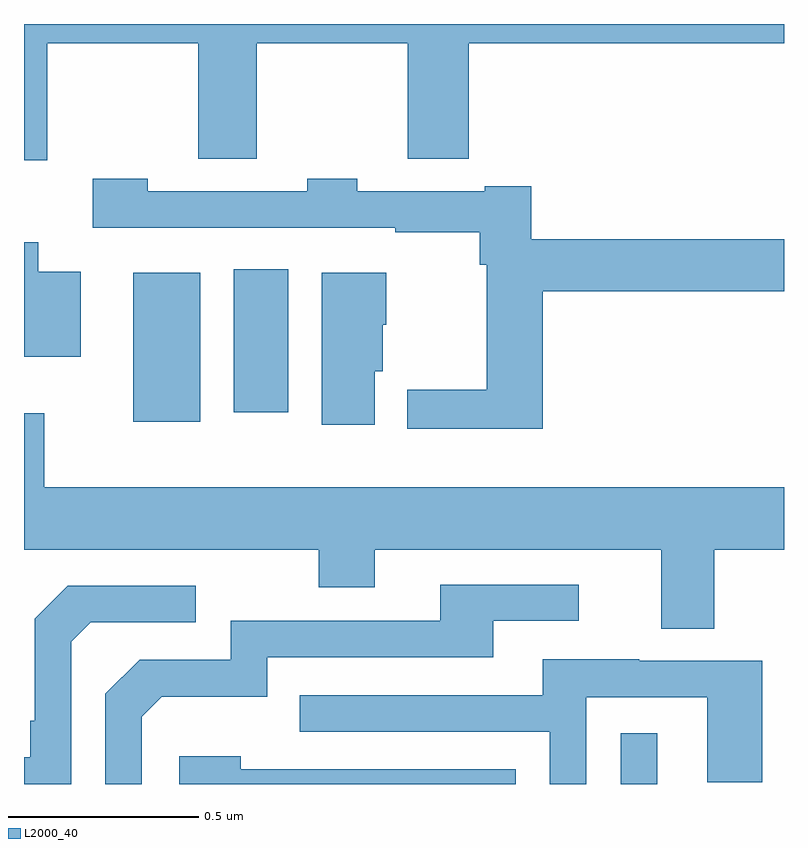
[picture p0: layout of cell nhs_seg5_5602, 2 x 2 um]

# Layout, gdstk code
import gdstk
lib = gdstk.Library(unit=1e-6, precision=1e-09)
def R(c, l, rs):  # rectangles x0, y0, x1, y1
    for r in rs: c.add(gdstk.rectangle(r[:2], r[2:], *l))
def P(c, l, *ps):  # polygons
    for p in ps: c.add(gdstk.Polygon(p, *l))
L2000_40 = (2000, 40)

nhs_seg5_5602 = lib.new_cell('nhs_seg5_5602')
R(nhs_seg5_5602, L2000_40, [(186.57,866.799,186.667,866.932), (185.288,867.752,185.464,868.144), (185.552,867.777,185.695,868.153)])
P(nhs_seg5_5602, L2000_40, [(185.061,868.748),(185.458,868.748),(185.458,868.444),(185.612,868.444),(185.612,868.748),(186.01,868.748),(186.01,868.444),(186.17,868.444),(186.17,868.748),(187,868.748),(187,868.799),(185,868.799),(185,868.44),(185.061,868.44)],
  [(186.365,868.096),(187,868.096),(187,868.232),(186.335,868.232),(186.335,868.372),(186.212,868.372),(186.212,868.359),(185.877,868.359),(185.877,868.392),(185.745,868.392),(185.745,868.359),(185.325,868.359),(185.325,868.392),(185.181,868.392),(185.181,868.263),(185.977,868.263),(185.977,868.251),(186.199,868.251),(186.199,868.166),(186.218,868.166),(186.218,867.836),(186.009,867.836),(186.009,867.734),(186.365,867.734)],
  [(185.149,868.147),(185.038,868.147),(185.038,868.225),(185,868.225),(185,867.923),(185.149,867.923)],
  [(185.923,867.885),(185.944,867.885),(185.944,868.008),(185.953,868.008),(185.953,868.144),(185.783,868.144),(185.783,867.744),(185.923,867.744)],
  [(186.817,867.416),(187,867.416),(187,867.58),(185.053,867.58),(185.053,867.775),(185,867.775),(185,867.416),(185.776,867.416),(185.776,867.317),(185.923,867.317),(185.923,867.416),(186.677,867.416),(186.677,867.208),(186.817,867.208)],
  [(185.31,866.976),(185.363,867.029),(185.64,867.029),(185.64,867.132),(186.235,867.132),(186.235,867.228),(186.46,867.228),(186.46,867.324),(186.095,867.324),(186.095,867.228),(185.544,867.228),(185.544,867.126),(185.304,867.126),(185.214,867.036),(185.214,866.799),(185.31,866.799)],
  [(185.124,867.174),(185.175,867.225),(185.452,867.225),(185.452,867.321),(185.115,867.321),(185.028,867.234),(185.028,866.965),(185.016,866.965),(185.016,866.869),(185,866.869),(185,866.799),(185.124,866.799)],
  [(186.48,867.027),(186.798,867.027),(186.798,866.803),(186.943,866.803),(186.943,867.123),(186.619,867.123),(186.619,867.127),(186.365,867.127),(186.365,867.033),(185.725,867.033),(185.725,866.937),(186.384,866.937),(186.384,866.799),(186.48,866.799)],
  [(186.294,866.838),(185.57,866.838),(185.57,866.872),(185.409,866.872),(185.409,866.799),(186.294,866.799)])

lib.write_gds('nhs_seg5_5602.gds')
